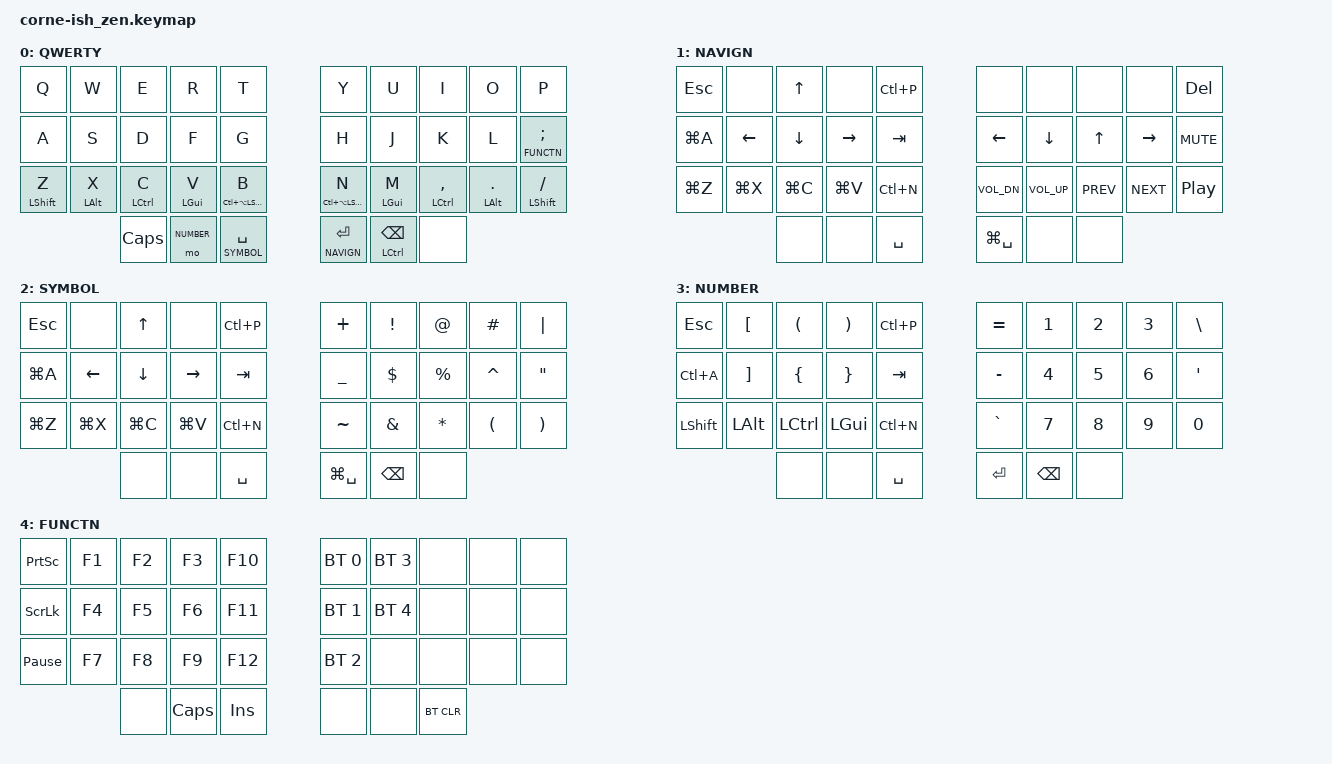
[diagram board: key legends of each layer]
/*
 * Copyright (c) 2020 The ZMK Contributors
 *
 * SPDX-License-Identifier: MIT
 */

#include <behaviors.dtsi>
#include <dt-bindings/zmk/bt.h>
#include <dt-bindings/zmk/keys.h>
#include <dt-bindings/zmk/matrix_transform.h>

/* LAYERS */
#define QWERTY   0
#define NAVIGN   1
#define SYMBOL   2
#define NUMBER   3
#define FUNCTN   4

/* MACROS */
#define MEH  LC(LA(LSHIFT))

/ {
  chosen {
    zmk,matrix_transform = &five_column_transform;
  };

  combos {
    compatible = "zmk,combos";
  };

  behaviors {
    cm: left_control_mod {
      compatible = "zmk,behavior-hold-tap";
      label = "LEFT_CONTROL_MOD";
      #binding-cells = <2>;
      tapping-term-ms = <220>;
      quick_tap_ms = <0>;
      flavor = "tap-preferred";
      bindings = <&kp>, <&kp>;
    };
    sm: shift_mods {
      compatible = "zmk,behavior-hold-tap";
      label = "SHIFT_MODS";
      #binding-cells = <2>;
      tapping-term-ms = <180>;
      quick_tap_ms = <0>;
      flavor = "tap-preferred";
      bindings = <&kp>, <&kp>;
    };
    hm: homerow_mods {
      compatible = "zmk,behavior-hold-tap";
      label = "HOMEROW_MODS";
      #binding-cells = <2>;
      tapping-term-ms = <200>;
      quick_tap_ms = <0>;
      flavor = "tap-preferred";
      bindings = <&kp>, <&kp>;
    };
  };

  keymap {
    compatible = "zmk,keymap";

    qwerty_layer {
      label = "QWERTY";
      bindings = <
&kp Q        &kp W      &kp E            &kp R          &kp T          &kp Y     &kp U      &kp I           &kp O        &kp P
&kp A        &kp S      &kp D            &kp F          &kp G          &kp H     &kp J      &kp K           &kp L        &lt FUNCTN SEMI
&sm LSHIFT Z &hm LALT X &cm LCTRL C      &hm LGUI V     &cm MEH B      &cm MEH N &hm LGUI M &hm LCTRL COMMA &hm LALT DOT &sm LSHIFT SLASH
&kp CAPS     &mo NUMBER &lt SYMBOL SPACE &lt NAVIGN RET &mt LCTRL BSPC &none
      >;
    };

    navign_layer {
      label = "NAVIGN";
      bindings = <
&kp ESC   &none     &kp UP    &none         &kp LC(P) &none        &none        &none      &none      &kp DEL
&kp LG(A) &kp LEFT  &kp DOWN  &kp RIGHT     &kp TAB   &kp LEFT     &kp DOWN     &kp UP     &kp RIGHT  &kp K_MUTE
&kp LG(Z) &kp LG(X) &kp LG(C) &kp LG(V)     &kp LC(N) &kp C_VOL_DN &kp C_VOL_UP &kp C_PREV &kp C_NEXT &kp C_PP
&none     &none     &kp SPACE &kp LG(SPACE) &none     &none
      >;
    };

    symbol_layer {
      label = "SYMBOL";
      bindings = <
&kp ESC   &none     &kp UP    &none         &kp LC(P) &kp PLUS  &kp EXCL   &kp AT      &kp HASH  &kp PIPE
&kp LG(A) &kp LEFT  &kp DOWN  &kp RIGHT     &kp TAB   &kp UNDER &kp DOLLAR &kp PERCENT &kp CARET &kp DQT
&kp LG(Z) &kp LG(X) &kp LG(C) &kp LG(V)     &kp LC(N) &kp TILDE &kp AMPS   &kp STAR    &kp LPAR  &kp RPAR
&none     &none     &kp SPACE &kp LG(SPACE) &kp BSPC  &none
      >;
    };

    number_layer {
      label = "NUMBER";
      bindings = <
&kp ESC    &kp LBKT &kp LPAR  &kp RPAR &kp LC(P) &kp EQUAL &kp N1 &kp N2 &kp N3 &kp BACKSLASH
&kp LC(A)  &kp RBKT &kp LBRC  &kp RBRC &kp TAB   &kp MINUS &kp N4 &kp N5 &kp N6 &kp SQT
&kp LSHIFT &kp LALT &kp LCTRL &kp LGUI &kp LC(N) &kp GRAVE &kp N7 &kp N8 &kp N9 &kp N0
&none      &none    &kp SPACE &kp RET  &kp BSPC  &none
      >;
    };

    functn_layer {
      label = "FUNCTN";
      bindings = <
&kp PRINTSCREEN &kp F1   &kp F2  &kp F3 &kp F10 &bt BT_SEL 0 &bt BT_SEL 3 &none &none &none
&kp SCROLLLOCK  &kp F4   &kp F5  &kp F6 &kp F11 &bt BT_SEL 1 &bt BT_SEL 4 &none &none &none
&kp PAUSE_BREAK &kp F7   &kp F8  &kp F9 &kp F12 &bt BT_SEL 2 &none        &none &none &none
&none           &kp CAPS &kp INS &none  &none   &bt BT_CLR
      >;
    };
  };
};
